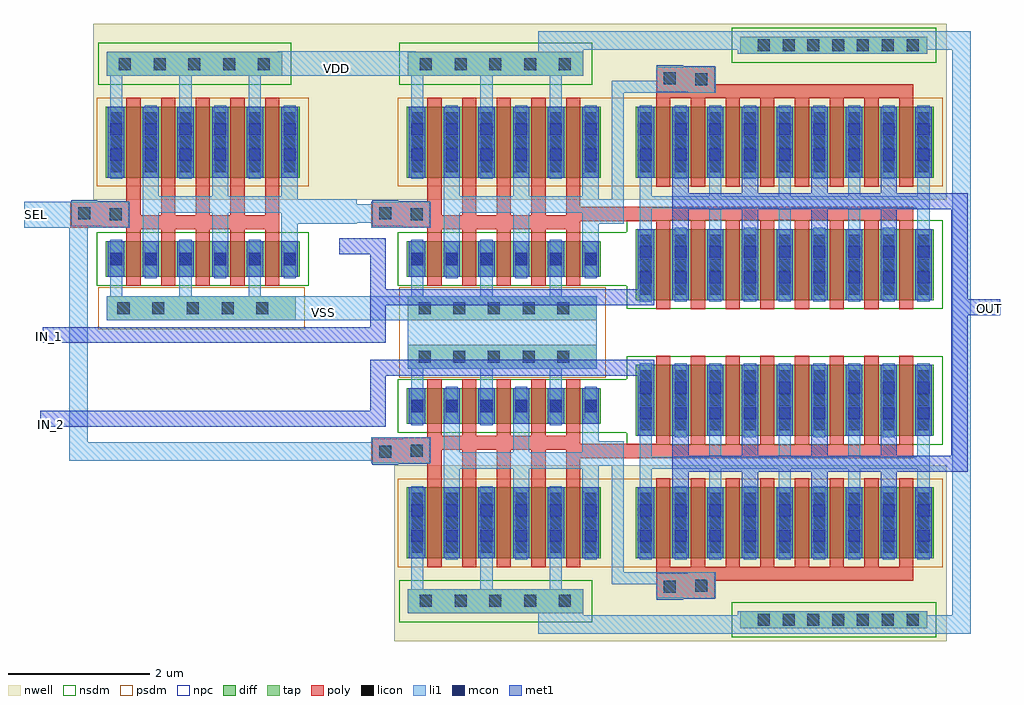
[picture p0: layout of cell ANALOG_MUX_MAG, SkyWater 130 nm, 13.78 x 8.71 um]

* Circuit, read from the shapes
.subckt ANALOG_MUX_MAG IN_1 IN_2 OUT SEL VDD VSS
XM1 TG_ANALOG_MUX_1/CLK SEL VSS VSS sky130_fd_pr__nfet_01v8 w=0.5 l=0.2 m=5
XM2 TG_ANALOG_MUX_2/inverter_0/OUT SEL VSS VSS sky130_fd_pr__nfet_01v8 w=0.5 l=0.2 m=5
XM3 TG_ANALOG_MUX_1/inverter_0/OUT TG_ANALOG_MUX_1/CLK VSS VSS sky130_fd_pr__nfet_01v8 w=0.5 l=0.2 m=5
XM4 OUT SEL IN_2 VSS sky130_fd_pr__nfet_01v8 w=1 l=0.2 m=8
XM5 OUT TG_ANALOG_MUX_1/CLK IN_1 VSS sky130_fd_pr__nfet_01v8 w=1 l=0.2 m=8
XM6 TG_ANALOG_MUX_1/CLK SEL VDD VDD sky130_fd_pr__pfet_01v8 w=1 l=0.2 m=5
XM7 TG_ANALOG_MUX_2/inverter_0/OUT SEL VDD VDD sky130_fd_pr__pfet_01v8 w=1 l=0.2 m=5
XM8 TG_ANALOG_MUX_1/inverter_0/OUT TG_ANALOG_MUX_1/CLK VDD VDD sky130_fd_pr__pfet_01v8 w=1 l=0.2 m=5
XM9 OUT TG_ANALOG_MUX_2/inverter_0/OUT IN_2 VDD sky130_fd_pr__pfet_01v8 w=1 l=0.2 m=8
XM10 OUT TG_ANALOG_MUX_1/inverter_0/OUT IN_1 VDD sky130_fd_pr__pfet_01v8 w=1 l=0.2 m=8
.ends

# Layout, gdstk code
import gdstk
lib = gdstk.Library(unit=1e-6, precision=1e-09)
def R(c, l, rs):  # rectangles x0, y0, x1, y1
    for r in rs: c.add(gdstk.rectangle(r[:2], r[2:], *l))
def A(c, l, x, y, w, h, nx, ny, dx, dy):  # array of equal rectangles
    R(c, l, [(x+i*dx, y+j*dy, x+i*dx+w, y+j*dy+h) for i in range(nx) for j in range(ny)])
nwell = (64, 20)
diff = (65, 20)
tap = (65, 44)
poly = (66, 20)
licon = (66, 44)
li1 = (67, 20)
mcon = (67, 44)
met1 = (68, 20)
nsdm = (93, 44)
psdm = (94, 20)
npc = (95, 20)

sky130_fd_pr__nfet_01v8_ = lib.new_cell('sky130_fd_pr__nfet_01v8_S4GQ7J')
R(sky130_fd_pr__nfet_01v8_, diff, [(-0.39,-0.25,0.39,0.25)])
R(sky130_fd_pr__nfet_01v8_, poly, [(-0.1,-0.38,0.1,0.38)])
R(sky130_fd_pr__nfet_01v8_, licon, [(-0.33,-0.085,-0.16,0.085), (0.16,-0.085,0.33,0.085)])
R(sky130_fd_pr__nfet_01v8_, li1, [(-0.33,-0.27,-0.16,0.27), (0.16,-0.27,0.33,0.27)])
R(sky130_fd_pr__nfet_01v8_, mcon, [(-0.33,-0.085,-0.16,0.085), (0.16,-0.085,0.33,0.085)])
R(sky130_fd_pr__nfet_01v8_, met1, [(-0.36,-0.25,-0.13,0.25), (0.13,-0.25,0.36,0.25)])
R(sky130_fd_pr__nfet_01v8_, nsdm, [(-0.515,-0.375,0.515,0.375)])

sky130_fd_pr__pfet_01v8_ = lib.new_cell('sky130_fd_pr__pfet_01v8_ES6JQB')
R(sky130_fd_pr__pfet_01v8_, nwell, [(-0.57,-0.81,0.57,0.81)])
R(sky130_fd_pr__pfet_01v8_, diff, [(-0.39,-0.5,0.39,0.5)])
R(sky130_fd_pr__pfet_01v8_, poly, [(-0.1,-0.63,0.1,0.63)])
A(sky130_fd_pr__pfet_01v8_, licon, -0.33, -0.425, 0.17, 0.17, 1, 3, 0, 0.34)
A(sky130_fd_pr__pfet_01v8_, licon, 0.16, -0.425, 0.17, 0.17, 1, 3, 0, 0.34)
R(sky130_fd_pr__pfet_01v8_, li1, [(-0.33,-0.52,-0.16,0.52), (0.16,-0.52,0.33,0.52)])
R(sky130_fd_pr__pfet_01v8_, mcon, [(-0.33,-0.265,-0.16,-0.095), (0.16,-0.265,0.33,-0.095), (-0.33,0.095,-0.16,0.265), (0.16,0.095,0.33,0.265)])
R(sky130_fd_pr__pfet_01v8_, met1, [(-0.36,-0.5,-0.13,0.5), (0.13,-0.5,0.36,0.5)])
R(sky130_fd_pr__pfet_01v8_, psdm, [(-0.515,-0.625,0.515,0.625)])

inverter = lib.new_cell('inverter')
R(inverter, nwell, [(1.63,0.8,1.85,1.025), (1.42,1.115,4.52,1.835)])
R(inverter, tap, [(1.615,-2.135,4.285,-1.795), (1.615,1.315,4.09,1.655)])
A(inverter, poly, 1.89, -1.02, 0.2, 0.17, 5, 1, 0.49, 0)
A(inverter, poly, 2.38, -0.65, 0.2, 0.53, 4, 1, 0.49, 0)
R(inverter, poly, [(1.89,-0.85,4.05,-0.83), (1.1,-0.83,4.05,-0.65), (1.1,-0.65,2.09,-0.46), (1.89,-0.46,2.09,-0.2), (1.96,-0.2,2.09,-0.185)])
A(inverter, licon, 1.765, -2.05, 0.17, 0.17, 5, 1, 0.49, 0)
A(inverter, licon, 1.785, 1.395, 0.17, 0.17, 5, 1, 0.49, 0)
R(inverter, licon, [(1.655,-0.725,1.825,-0.555), (1.21,-0.71,1.38,-0.54)])
R(inverter, li1, [(1.615,-2.135,4.285,-1.795), (1.66,-1.795,1.83,-1.52), (2.64,-1.795,2.81,-1.52), (3.62,-1.795,3.79,-1.525), (2.12,-1.08,2.35,-0.615), (3.1,-1.08,3.33,-0.615), (4.08,-1.08,4.31,-0.775), (1.1,-0.83,1.94,-0.46), (4.08,-0.775,4.46,-0.615), (2.12,-0.615,4.46,-0.425), (2.12,-0.425,4.31,-0.385), (2.12,-0.385,2.35,0.88), (3.1,-0.385,3.33,-0.06), (4.08,-0.385,4.31,-0.06), (1.66,0.895,1.83,1.315), (2.64,0.9,2.81,1.315), (3.62,0.9,3.79,1.315), (1.615,1.315,4.09,1.655)])
R(inverter, nsdm, [(1.49,1.19,4.215,1.78)])
R(inverter, psdm, [(1.49,-2.26,4.41,-1.67)])
R(inverter, npc, [(1.555,-0.825,1.925,-0.81), (1.11,-0.81,1.925,-0.455), (1.11,-0.455,1.48,-0.44)])
inverter.add(gdstk.Reference(sky130_fd_pr__nfet_01v8_, (2.48,-1.27)))
inverter.add(gdstk.Reference(sky130_fd_pr__nfet_01v8_, (1.99,-1.27)))
inverter.add(gdstk.Reference(sky130_fd_pr__pfet_01v8_, (1.99,0.38)))
inverter.add(gdstk.Reference(sky130_fd_pr__pfet_01v8_, (2.48,0.38)))
inverter.add(gdstk.Reference(sky130_fd_pr__pfet_01v8_, (2.97,0.38)))
inverter.add(gdstk.Reference(sky130_fd_pr__nfet_01v8_, (3.95,-1.27)))
inverter.add(gdstk.Reference(sky130_fd_pr__nfet_01v8_, (3.46,-1.27)))
inverter.add(gdstk.Reference(sky130_fd_pr__nfet_01v8_, (2.97,-1.27)))
inverter.add(gdstk.Reference(sky130_fd_pr__pfet_01v8_, (3.95,0.38)))
inverter.add(gdstk.Reference(sky130_fd_pr__pfet_01v8_, (3.46,0.38)))
inverter.add(gdstk.Label('VDD', (2.85,1.485), layer=67, texttype=5))
inverter.add(gdstk.Label('VSS', (2.83,-1.965), layer=67, texttype=5))
inverter.add(gdstk.Label('IN', (1.51,-0.67), layer=67, texttype=5))
inverter.add(gdstk.Label('OUT', (4.345,-0.68), layer=67, texttype=5))

c_sky130_fd_pr__nfet_01v8_ = lib.new_cell('sky130_fd_pr__nfet_01v8_NUEGCF')
R(c_sky130_fd_pr__nfet_01v8_, diff, [(-0.39,-0.5,0.39,0.5)])
R(c_sky130_fd_pr__nfet_01v8_, poly, [(-0.1,-0.63,0.1,0.63)])
A(c_sky130_fd_pr__nfet_01v8_, licon, -0.33, -0.425, 0.17, 0.17, 1, 3, 0, 0.34)
A(c_sky130_fd_pr__nfet_01v8_, licon, 0.16, -0.425, 0.17, 0.17, 1, 3, 0, 0.34)
R(c_sky130_fd_pr__nfet_01v8_, li1, [(-0.33,-0.52,-0.16,0.52), (0.16,-0.52,0.33,0.52)])
R(c_sky130_fd_pr__nfet_01v8_, mcon, [(-0.33,-0.265,-0.16,-0.095), (0.16,-0.265,0.33,-0.095), (-0.33,0.095,-0.16,0.265), (0.16,0.095,0.33,0.265)])
R(c_sky130_fd_pr__nfet_01v8_, met1, [(-0.36,-0.5,-0.13,0.5), (0.13,-0.5,0.36,0.5)])
R(c_sky130_fd_pr__nfet_01v8_, nsdm, [(-0.515,-0.625,0.515,0.625)])

tg_analog_mux = lib.new_cell('TG_ANALOG_MUX')
R(tg_analog_mux, nwell, [(1.115,1.725,8.08,3.95), (0.28,3.95,8.08,4.205)])
R(tg_analog_mux, tap, [(5.17,3.78,7.81,4.025)])
R(tg_analog_mux, poly, [(2.775,1.42,4.18,1.435), (2.775,1.435,7.61,1.62), (3.98,3.165,7.61,3.35), (3.98,3.35,4.82,3.6)])
A(tg_analog_mux, licon, 5.415, 3.82, 0.17, 0.17, 7, 1, 0.35, 0)
R(tg_analog_mux, licon, [(4.535,3.335,4.705,3.505), (4.09,3.35,4.26,3.52)])
A(tg_analog_mux, li1, 5.71, 1.305, 0.17, 0.295, 3, 1, 0.98, 0)
A(tg_analog_mux, li1, 5.71, 1.77, 0.17, 0.265, 3, 1, 0.98, 0)
R(tg_analog_mux, li1, [(2.295,0.02,2.555,0.36), (4.73,1.295,4.9,1.6), (3.75,1.305,3.92,1.6), (3.215,1.38,3.52,1.52), (-0.51,1.395,0.28,1.655), (3.155,1.52,3.52,1.69), (3.75,1.6,7.84,1.77), (3.215,1.69,3.52,1.73), (3.35,1.73,3.52,3.23), (3.75,1.77,3.92,2.035), (4.73,1.77,4.9,2.025), (3.35,3.23,4.82,3.4), (3.98,3.4,4.82,3.6), (2.315,3.47,2.575,3.8), (5.135,3.78,7.81,3.84), (2.315,3.8,2.95,3.84), (2.315,3.84,7.81,4.025), (2.315,4.025,5.395,4.1)])
A(tg_analog_mux, met1, 4.21, 1.305, 0.23, 0.28, 4, 1, 0.98, 0)
A(tg_analog_mux, met1, 4.21, 1.815, 0.23, 0.22, 4, 1, 0.98, 0)
R(tg_analog_mux, met1, [(-0.055,0.235,3.955,0.455), (-0.055,0.455,0.165,0.955), (-0.495,0.955,0.165,1.175), (4.21,1.585,8.38,1.815)])
R(tg_analog_mux, nsdm, [(3.325,0.51,3.565,1.26), (5.045,3.655,7.935,4.15)])
R(tg_analog_mux, psdm, [(3.325,1.91,3.565,3.16)])
R(tg_analog_mux, npc, [(4.435,3.235,4.805,3.25), (3.99,3.25,4.805,3.605), (3.99,3.605,4.36,3.62)])
tg_analog_mux.add(gdstk.Reference(inverter, (-1.14,2.155)))
tg_analog_mux.add(gdstk.Reference(c_sky130_fd_pr__nfet_01v8_, (4.08,0.805)))
tg_analog_mux.add(gdstk.Reference(c_sky130_fd_pr__nfet_01v8_, (4.57,0.805)))
tg_analog_mux.add(gdstk.Reference(c_sky130_fd_pr__nfet_01v8_, (5.55,0.805)))
tg_analog_mux.add(gdstk.Reference(c_sky130_fd_pr__nfet_01v8_, (5.06,0.805)))
tg_analog_mux.add(gdstk.Reference(c_sky130_fd_pr__nfet_01v8_, (6.04,0.805)))
tg_analog_mux.add(gdstk.Reference(c_sky130_fd_pr__nfet_01v8_, (6.53,0.805)))
tg_analog_mux.add(gdstk.Reference(c_sky130_fd_pr__nfet_01v8_, (7.02,0.805)))
tg_analog_mux.add(gdstk.Reference(sky130_fd_pr__pfet_01v8_, (4.08,2.535)))
tg_analog_mux.add(gdstk.Reference(sky130_fd_pr__pfet_01v8_, (4.57,2.535)))
tg_analog_mux.add(gdstk.Reference(sky130_fd_pr__pfet_01v8_, (5.06,2.535)))
tg_analog_mux.add(gdstk.Reference(sky130_fd_pr__pfet_01v8_, (5.55,2.535)))
tg_analog_mux.add(gdstk.Reference(sky130_fd_pr__pfet_01v8_, (6.04,2.535)))
tg_analog_mux.add(gdstk.Reference(sky130_fd_pr__pfet_01v8_, (6.53,2.535)))
tg_analog_mux.add(gdstk.Reference(sky130_fd_pr__pfet_01v8_, (7.02,2.535)))
tg_analog_mux.add(gdstk.Reference(c_sky130_fd_pr__nfet_01v8_, (7.51,0.805)))
tg_analog_mux.add(gdstk.Reference(sky130_fd_pr__pfet_01v8_, (7.51,2.535)))
tg_analog_mux.add(gdstk.Label('VDD', (2.45,3.61), layer=67, texttype=5))
tg_analog_mux.add(gdstk.Label('VSS', (2.44,0.14), layer=67, texttype=5))
tg_analog_mux.add(gdstk.Label('CLK', (-0.44,1.485), layer=67, texttype=5))
tg_analog_mux.add(gdstk.Label('IN', (-0.37,1.075), layer=68, texttype=5))
tg_analog_mux.add(gdstk.Label('OUT', (8.255,1.725), layer=68, texttype=5))

analog_mux_mag = lib.new_cell('ANALOG_MUX_MAG')
R(analog_mux_mag, nwell, [(-0.42,1.73,0.87,3.475), (-0.85,3.475,1.095,3.82), (-0.42,3.82,0.87,3.995), (-3.46,3.995,0.81,4.21)])
R(analog_mux_mag, li1, [(5.3,-4.4,8.93,-4.14), (8.67,-4.14,8.93,3.845), (-3.795,-1.955,0.41,-1.695), (-3.795,-1.695,-3.535,1.33), (0.985,-0.47,3.655,0.025), (-0.955,0.025,3.655,0.1), (-0.955,0.1,1.095,0.365), (-4.435,1.33,-3.285,1.7), (-0.775,1.385,0.26,1.735), (-0.85,3.475,1.095,3.82), (5.265,3.845,8.93,4.105)])
R(analog_mux_mag, met1, [(8.66,-2.115,8.89,0.095), (-4.205,-1.475,0.365,-1.255), (-4.17,-0.29,0.675,-0.07), (0.455,-0.07,0.675,0.575), (8.66,0.095,9.345,0.325), (8.66,0.325,8.89,1.72)])
R(analog_mux_mag, psdm, [(0.86,-0.195,3.78,-0.1)])
analog_mux_mag.add(gdstk.Reference(inverter, (-4.88,2.16)))
analog_mux_mag.add(gdstk.Reference(tg_analog_mux, (0.51,0.005)))
analog_mux_mag.add(gdstk.Reference(tg_analog_mux, (0.51,-0.3), x_reflection=True))
analog_mux_mag.add(gdstk.Label('SEL', (-4.26,1.52), layer=67, texttype=5))
analog_mux_mag.add(gdstk.Label('VDD', (-0.02,3.58), layer=67, texttype=5))
analog_mux_mag.add(gdstk.Label('VSS', (-0.2,0.14), layer=67, texttype=5))
analog_mux_mag.add(gdstk.Label('IN_1', (-4.07,-0.205), layer=68, texttype=5))
analog_mux_mag.add(gdstk.Label('IN_2', (-4.05,-1.44), layer=68, texttype=5))
analog_mux_mag.add(gdstk.Label('OUT', (9.2,0.19), layer=68, texttype=5))

lib.write_gds('ANALOG_MUX_MAG.gds')
